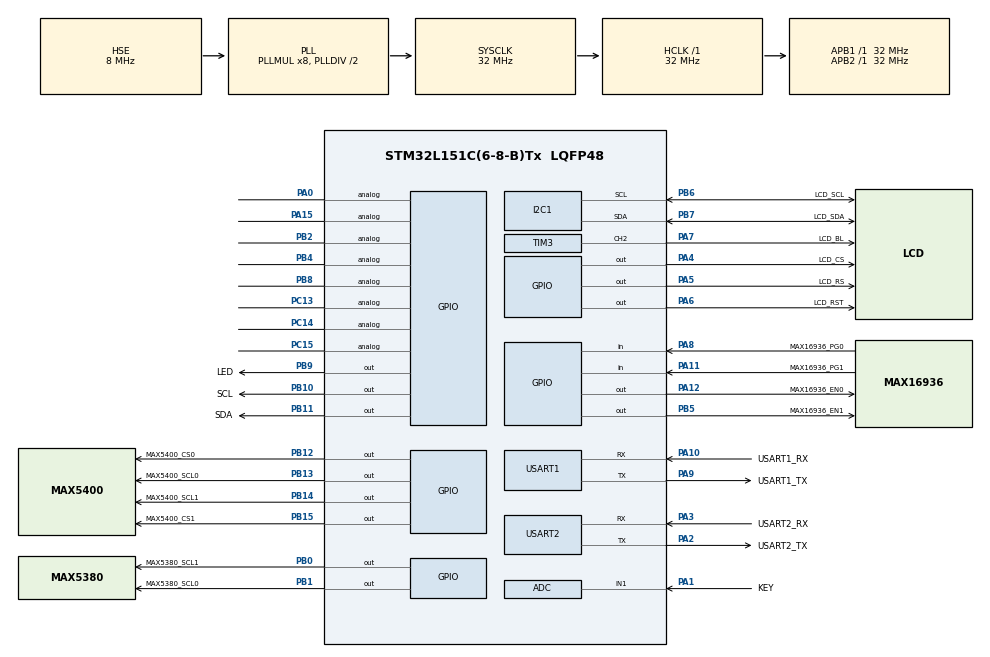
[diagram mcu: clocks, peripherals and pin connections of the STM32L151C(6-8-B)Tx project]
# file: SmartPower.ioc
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ADC.Channel-0\#ChannelRegularConversion=ADC_CHANNEL_1
ADC.NbrOfConversionFlag=1
ADC.Rank-0\#ChannelRegularConversion=1
ADC.SamplingTime-0\#ChannelRegularConversion=ADC_SAMPLETIME_4CYCLES
Mcu.Family=STM32L1
Mcu.Name=STM32L151C(6-8-B)Tx
Mcu.Package=LQFP48
NVIC.ADC1_IRQn=true\:0\:4\:false\:false\:true
NVIC.PriorityGroup=NVIC_PRIORITYGROUP_0
NVIC.RTC_Alarm_IRQn=true\:0\:2\:false\:false\:true
NVIC.USART1_IRQn=true\:0\:3\:false\:false\:true
NVIC.USART2_IRQn=true\:0\:3\:false\:false\:true
PA0-WKUP1.Signal=GPIO_Analog
PA1.GPIO_Label=KEY
PA1.Mode=IN1
PA1.Signal=ADC_IN1
PA10.GPIO_Label=USART1_RX
PA10.Mode=Asynchronous
PA10.Signal=USART1_RX
PA11.GPIO_Label=MAX16936_PG1
PA11.GPIO_PuPd=GPIO_PULLUP
PA11.Signal=GPIO_Input
PA12.GPIO_Label=MAX16936_EN0
PA12.Signal=GPIO_Output
PA13.GPIO_Label=SWDIO
PA13.Mode=Trace_Asynchronous_SW
PA13.Signal=SYS_JTMS-SWDIO
PA14.GPIO_Label=SWCLK
PA14.Mode=Trace_Asynchronous_SW
PA14.Signal=SYS_JTCK-SWCLK
PA15.Signal=GPIO_Analog
PA2.GPIO_Label=USART2_TX
PA2.Mode=Asynchronous
PA2.Signal=USART2_TX
PA3.GPIO_Label=USART2_RX
PA3.Mode=Asynchronous
PA3.Signal=USART2_RX
PA4.GPIO_Label=LCD_CS
PA4.GPIO_Speed=GPIO_SPEED_FREQ_VERY_HIGH
PA4.PinState=GPIO_PIN_SET
PA4.Signal=GPIO_Output
PA5.GPIO_Label=LCD_RS
PA5.GPIO_Speed=GPIO_SPEED_FREQ_VERY_HIGH
PA5.Signal=GPIO_Output
PA6.GPIO_Label=LCD_RST
PA6.Signal=GPIO_Output
PA7.GPIO_Label=LCD_BL
PA7.GPIO_Speed=GPIO_SPEED_FREQ_VERY_HIGH
PA7.Signal=S_TIM3_CH2
PA8.GPIO_Label=MAX16936_PG0
PA8.GPIO_PuPd=GPIO_PULLUP
PA8.Signal=GPIO_Input
PA9.GPIO_Label=USART1_TX
PA9.Mode=Asynchronous
PA9.Signal=USART1_TX
PB0.GPIO_Label=MAX5380_SCL1
PB0.GPIO_ModeDefaultOutputPP=GPIO_MODE_OUTPUT_OD
PB0.GPIO_Speed=GPIO_SPEED_FREQ_VERY_HIGH
PB0.PinState=GPIO_PIN_SET
PB0.Signal=GPIO_Output
PB1.GPIO_Label=MAX5380_SCL0
PB1.GPIO_ModeDefaultOutputPP=GPIO_MODE_OUTPUT_OD
PB1.GPIO_Speed=GPIO_SPEED_FREQ_VERY_HIGH
PB1.PinState=GPIO_PIN_SET
PB1.Signal=GPIO_Output
PB10.GPIO_Label=SCL
PB10.GPIO_ModeDefaultOutputPP=GPIO_MODE_OUTPUT_OD
PB10.GPIO_Speed=GPIO_SPEED_FREQ_VERY_HIGH
PB10.PinState=GPIO_PIN_SET
PB10.Signal=GPIO_Output
PB11.GPIO_Label=SDA
PB11.GPIO_ModeDefaultOutputPP=GPIO_MODE_OUTPUT_OD
PB11.GPIO_Speed=GPIO_SPEED_FREQ_VERY_HIGH
PB11.PinState=GPIO_PIN_SET
PB11.Signal=GPIO_Output
PB12.GPIO_Label=MAX5400_CS0
PB12.GPIO_Speed=GPIO_SPEED_FREQ_VERY_HIGH
PB12.PinState=GPIO_PIN_SET
PB12.Signal=GPIO_Output
PB13.GPIO_Label=MAX5400_SCL0
PB13.GPIO_ModeDefaultOutputPP=GPIO_MODE_OUTPUT_OD
PB13.GPIO_Speed=GPIO_SPEED_FREQ_VERY_HIGH
PB13.Signal=GPIO_Output
PB14.GPIO_Label=MAX5400_SCL1
PB14.GPIO_ModeDefaultOutputPP=GPIO_MODE_OUTPUT_OD
PB14.GPIO_Speed=GPIO_SPEED_FREQ_VERY_HIGH
PB14.Signal=GPIO_Output
PB15.GPIO_Label=MAX5400_CS1
PB15.GPIO_Speed=GPIO_SPEED_FREQ_VERY_HIGH
PB15.PinState=GPIO_PIN_SET
PB15.Signal=GPIO_Output
PB2.Signal=GPIO_Analog
PB3.GPIO_Label=DWO
PB3.Mode=Trace_Asynchronous_SW
PB3.Signal=SYS_JTDO-TRACESWO
PB4.Signal=GPIO_Analog
PB5.GPIO_Label=MAX16936_EN1
PB5.Signal=GPIO_Output
PB6.GPIO_Label=LCD_SCL
PB6.Mode=I2C
PB6.Signal=I2C1_SCL
PB7.GPIO_Label=LCD_SDA
PB7.Mode=I2C
PB7.Signal=I2C1_SDA
PB8.Signal=GPIO_Analog
PB9.GPIO_Label=LED
PB9.PinState=GPIO_PIN_SET
PB9.Signal=GPIO_Output
PC13-WKUP2.Signal=GPIO_Analog
PC14-OSC32_IN.Signal=GPIO_Analog
PC15-OSC32_OUT.Signal=GPIO_Analog
PH0-OSC_IN.GPIO_Label=OSC_IN
PH0-OSC_IN.Mode=HSE-External-Oscillator
PH0-OSC_IN.Signal=RCC_OSC_IN
PH1-OSC_OUT.GPIO_Label=OSC_OUT
PH1-OSC_OUT.Mode=HSE-External-Oscillator
PH1-OSC_OUT.Signal=RCC_OSC_OUT
ProjectManager.HeapSize=0x0
ProjectManager.StackSize=0x400
ProjectManager.TargetToolchain=MDK-ARM V5
RCC.AHBFreq_Value=32000000
RCC.APB1Freq_Value=32000000
RCC.APB1TimFreq_Value=32000000
RCC.APB2Freq_Value=32000000
RCC.APB2TimFreq_Value=32000000
RCC.HCLKFreq_Value=32000000
RCC.HSE_VALUE=8000000
RCC.HSI_VALUE=16000000
RCC.LSE_VALUE=32768
RCC.MSI_VALUE=2097000
RCC.PLLMUL=RCC_PLL_MUL8
RCC.PLLSourceVirtual=RCC_PLLSOURCE_HSE
RCC.PREFETCH_ENABLE=1
RCC.SYSCLKFreq_VALUE=32000000
RCC.SYSCLKSource=RCC_SYSCLKSOURCE_PLLCLK
RCC.USBOutput=32000000
RCC.VCOOutputFreq_Value=64000000
RTC.Format=RTC_FORMAT_BIN
SH.S_TIM3_CH2.0=TIM3_CH2,Output Compare2 CH2
TIM3.Channel-Output\ Compare2\ CH2=TIM_CHANNEL_2
TIM3.OCMode_2=TIM_OCMODE_ACTIVE
TIM3.Period=2000
TIM3.Prescaler=4
TIM3.Pulse-Output\ Compare2\ CH2=1000
VP_CRC_VS_CRC.Mode=CRC_Activate
VP_RTC_VS_RTC_Alarm_A_Intern.Mode=Alarm A
VP_TIM3_VS_ClockSourceINT.Mode=Internal
board=SmartPower

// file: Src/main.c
/**
  ******************************************************************************
  * File Name          : main.c
  * Description        : Main program body
  ******************************************************************************
  *
  * COPYRIGHT(c) 2016 STMicroelectronics
  *
  * Redistribution and use in source and binary forms, with or without modification,
  * are permitted provided that the following conditions are met:
  *   1. Redistributions of source code must retain the above copyright notice,
  *      this list of conditions and the following disclaimer.
  *   2. Redistributions in binary form must reproduce the above copyright notice,
  *      this list of conditions and the following disclaimer in the documentation
  *      and/or other materials provided with the distribution.
  *   3. Neither the name of STMicroelectronics nor the names of its contributors
  *      may be used to endorse or promote products derived from this software
  *      without specific prior written permission.
  *
  * THIS SOFTWARE IS PROVIDED BY THE COPYRIGHT HOLDERS AND CONTRIBUTORS "AS IS"
  * AND ANY EXPRESS OR IMPLIED WARRANTIES, INCLUDING, BUT NOT LIMITED TO, THE
  * IMPLIED WARRANTIES OF MERCHANTABILITY AND FITNESS FOR A PARTICULAR PURPOSE ARE
  * DISCLAIMED. IN NO EVENT SHALL THE COPYRIGHT HOLDER OR CONTRIBUTORS BE LIABLE
  * FOR ANY DIRECT, INDIRECT, INCIDENTAL, SPECIAL, EXEMPLARY, OR CONSEQUENTIAL
  * DAMAGES (INCLUDING, BUT NOT LIMITED TO, PROCUREMENT OF SUBSTITUTE GOODS OR
  * SERVICES; LOSS OF USE, DATA, OR PROFITS; OR BUSINESS INTERRUPTION) HOWEVER
  * CAUSED AND ON ANY THEORY OF LIABILITY, WHETHER IN CONTRACT, STRICT LIABILITY,
  * OR TORT (INCLUDING NEGLIGENCE OR OTHERWISE) ARISING IN ANY WAY OUT OF THE USE
  * OF THIS SOFTWARE, EVEN IF ADVISED OF THE POSSIBILITY OF SUCH DAMAGE.
  *
  ******************************************************************************
  */
#include "stm32l1xx_hal.h"
#include "adc.h"
#include "crc.h"
#include "i2c.h"
#include "rtc.h"
#include "tim.h"
#include "usart.h"
#include "gpio.h"

/* USER CODE BEGIN Includes */

#include "main.h"
#include "usart_board.h"
#include "eeprom.h"

#include "MAX5380.h"
#include "MAX5400.h"
#include "MAX16936.h"
#include "MAX9611.h"
#include "MAX5380.h"
#include "MAX1169.h"

/* USER CODE END Includes */

/* USER CODE BEGIN PV */
/* Private variables ---------------------------------------------------------*/

Context_t Context;

/* USER CODE END PV */

void SystemClock_Config(void);
void Error_Handler(void);

/* USER CODE BEGIN PFP */
/* Private function prototypes -----------------------------------------------*/

/* USER CODE END PFP */

/* USER CODE BEGIN 0 */

/****************************************************************
 *
 *	LED support functions
 *
 */
void LED_ON(void)
{
	HAL_GPIO_WritePin(LED_GPIO_Port, LED_Pin, GPIO_PIN_SET);
}
void LED_OFF(void)
{
	HAL_GPIO_WritePin(LED_GPIO_Port, LED_Pin, GPIO_PIN_RESET);
}

/****************************************************************
 *
 *	ADC support functions
 *
 */
void HAL_SYSTICK_Callback(void)
{
	if (Context.ADC_Timeout != 0)		// Check for ADC delay active
	{
		Context.ADC_Timeout--;
		if (Context.ADC_Timeout == 0)	// Check timeout done
		{
			HAL_ADC_Start_IT(&hadc);	// Start conversion
		}
	}
}

void HAL_ADC_ConvCpltCallback(ADC_HandleTypeDef* hadc)
{
	Context.ADC_Value = (uint16_t)HAL_ADC_GetValue(hadc);
	Context.ADC_Timeout = ADC_TIMEOUT;
}

void HAL_ADC_ErrorCallback(ADC_HandleTypeDef *hadc)
{
	Context.Errors |= ADC_ERROR;
}

/* USER CODE END 0 */

int main(void)
{

  /* USER CODE BEGIN 1 */

	HAL_DBGMCU_EnableDBGSleepMode();
	HAL_DBGMCU_EnableDBGStopMode();
	HAL_DBGMCU_EnableDBGSleepMode();

	__HAL_DBGMCU_FREEZE_I2C2_TIMEOUT();
	__HAL_DBGMCU_FREEZE_I2C1_TIMEOUT();
	__HAL_DBGMCU_FREEZE_WWDG();

  /* USER CODE END 1 */

  /* MCU Configuration----------------------------------------------------------*/

  /* Reset of all peripherals, Initializes the Flash interface and the Systick. */
  HAL_Init();

  /* Configure the system clock */
  SystemClock_Config();

  /* Initialize all configured peripherals */
  MX_GPIO_Init();
  MX_RTC_Init();
  MX_USART1_UART_Init();
  MX_USART2_UART_Init();
  MX_ADC_Init();
  MX_I2C1_Init();
  MX_TIM3_Init();
  MX_CRC_Init();

  /* Infinite loop */
  /* USER CODE BEGIN WHILE */

	Config_Init();

	i2c_init();

	MAX5380_Init();
	MAX9611_Init();
	MAX1169_Init();

	MAX16936_Disable(0);
	MAX16936_Disable(1);

	MAX5400_Set(0, Config.MAX5400_0);
	MAX5400_Set(1, Config.MAX5400_1);

	MAX16936_Enable(0);
	MAX16936_Enable(1);

	HAL_ADC_Start_IT(&hadc);	// Start ADC conversion
	usart2_start();

	uint8_t dac = 0;
	uint8_t pot = 90;

	while (1)
	{
/*
		while (usart2_read(&data))
		{
			usart2_send(&data, 1);
			continue;
		}
		__WFI();
*/

		LED_ON();
		HAL_Delay(100);

		//	Set POT value (MAX5480)
		MAX5400_Set(0, pot);
		pot--;
		if (pot == 75)
			pot = 90;

		//	Read all registers (for 2.0V SET = 0xFFE = 1.1V)
		MAX9611_Read(0);
		MAX1169_Read(0);

		//	Set DAC level (MAX5380) - maximum 2.0V
		MAX5380_Set(0, dac);
		dac++;
		if (dac == 0)
			HAL_Delay(1000);

		LED_OFF();
		HAL_Delay(400);

  /* USER CODE END WHILE */

	}

}

/** System Clock Configuration
*/
void SystemClock_Config(void)
{

  RCC_OscInitTypeDef RCC_OscInitStruct;
  RCC_ClkInitTypeDef RCC_ClkInitStruct;
  RCC_PeriphCLKInitTypeDef PeriphClkInit;

  __HAL_RCC_PWR_CLK_ENABLE();

  __HAL_PWR_VOLTAGESCALING_CONFIG(PWR_REGULATOR_VOLTAGE_SCALE1);

  RCC_OscInitStruct.OscillatorType = RCC_OSCILLATORTYPE_HSI|RCC_OSCILLATORTYPE_LSI
                              |RCC_OSCILLATORTYPE_HSE;
  RCC_OscInitStruct.HSEState = RCC_HSE_ON;
  RCC_OscInitStruct.HSIState = RCC_HSI_ON;
  RCC_OscInitStruct.HSICalibrationValue = 16;
  RCC_OscInitStruct.LSIState = RCC_LSI_ON;
  RCC_OscInitStruct.PLL.PLLState = RCC_PLL_ON;
  RCC_OscInitStruct.PLL.PLLSource = RCC_PLLSOURCE_HSE;
  RCC_OscInitStruct.PLL.PLLMUL = RCC_PLL_MUL8;
  RCC_OscInitStruct.PLL.PLLDIV = RCC_PLL_DIV2;
  if (HAL_RCC_OscConfig(&RCC_OscInitStruct) != HAL_OK)
  {
    Error_Handler();
  }

  RCC_ClkInitStruct.ClockType = RCC_CLOCKTYPE_HCLK|RCC_CLOCKTYPE_SYSCLK
                              |RCC_CLOCKTYPE_PCLK1|RCC_CLOCKTYPE_PCLK2;
  RCC_ClkInitStruct.SYSCLKSource = RCC_SYSCLKSOURCE_PLLCLK;
  RCC_ClkInitStruct.AHBCLKDivider = RCC_SYSCLK_DIV1;
  RCC_ClkInitStruct.APB1CLKDivider = RCC_HCLK_DIV1;
  RCC_ClkInitStruct.APB2CLKDivider = RCC_HCLK_DIV1;
  if (HAL_RCC_ClockConfig(&RCC_ClkInitStruct, FLASH_LATENCY_1) != HAL_OK)
  {
    Error_Handler();
  }

  PeriphClkInit.PeriphClockSelection = RCC_PERIPHCLK_RTC;
  PeriphClkInit.RTCClockSelection = RCC_RTCCLKSOURCE_LSI;
  if (HAL_RCCEx_PeriphCLKConfig(&PeriphClkInit) != HAL_OK)
  {
    Error_Handler();
  }

  HAL_SYSTICK_Config(HAL_RCC_GetHCLKFreq()/1000);

  HAL_SYSTICK_CLKSourceConfig(SYSTICK_CLKSOURCE_HCLK);

  /* SysTick_IRQn interrupt configuration */
  HAL_NVIC_SetPriority(SysTick_IRQn, 0, 0);
}

void Error_Handler(void)
{
  /* USER CODE BEGIN Error_Handler */
	/* User can add his own implementation to report the HAL error return state */
	LED_ON();
	while(1)
	{

	}
  /* USER CODE END Error_Handler */
}

/************************ (C) COPYRIGHT STMicroelectronics *****END OF FILE****/
